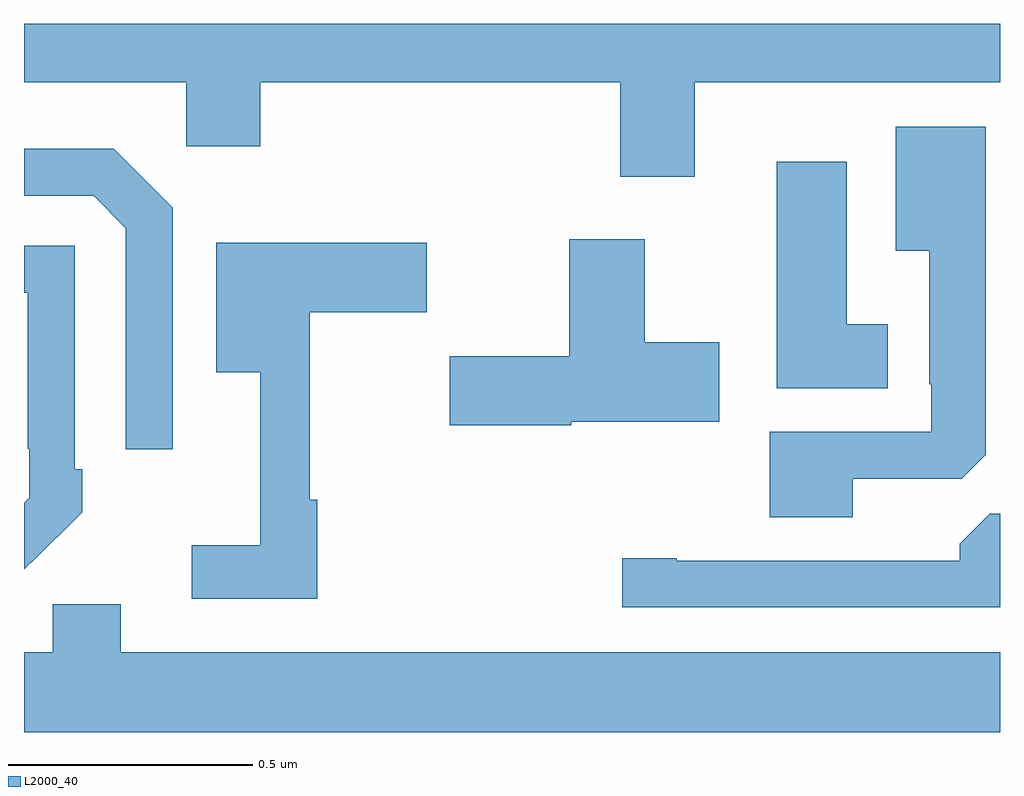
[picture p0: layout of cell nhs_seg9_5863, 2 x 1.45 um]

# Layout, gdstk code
import gdstk
lib = gdstk.Library(unit=1e-6, precision=1e-09)
def P(c, l, *ps):  # polygons
    for p in ps: c.add(gdstk.Polygon(p, *l))
L2000_40 = (2000, 40)

nhs_seg9_5863 = lib.new_cell('nhs_seg9_5863')
P(nhs_seg9_5863, L2000_40, [(185.374,1236.38),(186,1236.38),(186,1236.5),(184,1236.5),(184,1236.38),(184.332,1236.38),(184.332,1236.249),(184.484,1236.249),(184.484,1236.38),(185.222,1236.38),(185.222,1236.186),(185.374,1236.186)],
  [(185.698,1235.568),(185.922,1235.568),(185.971,1235.617),(185.971,1236.289),(185.786,1236.289),(185.786,1236.035),(185.855,1236.035),(185.855,1235.761),(185.859,1235.761),(185.859,1235.664),(185.528,1235.664),(185.528,1235.489),(185.698,1235.489)],
  [(184.305,1236.123),(184.184,1236.244),(184,1236.244),(184,1236.147),(184.143,1236.147),(184.209,1236.081),(184.209,1235.628),(184.305,1235.628)],
  [(185.77,1235.884),(185.686,1235.884),(185.686,1236.217),(185.543,1236.217),(185.543,1235.753),(185.77,1235.753)],
  [(185.121,1235.684),(185.425,1235.684),(185.425,1235.847),(185.272,1235.847),(185.272,1236.058),(185.117,1236.058),(185.117,1235.819),(184.872,1235.819),(184.872,1235.677),(185.121,1235.677)],
  [(184.601,1235.525),(184.586,1235.525),(184.586,1235.909),(184.825,1235.909),(184.825,1236.051),(184.394,1236.051),(184.394,1235.786),(184.484,1235.786),(184.484,1235.431),(184.344,1235.431),(184.344,1235.322),(184.601,1235.322)],
  [(184.013,1235.395),(184.014,1235.394),(184.119,1235.499),(184.119,1235.587),(184.104,1235.587),(184.104,1236.045),(184,1236.045),(184,1235.949),(184.008,1235.949),(184.008,1235.629),(184.011,1235.629),(184.011,1235.529),(184,1235.518),(184,1235.382)],
  [(186,1235.496),(185.979,1235.496),(185.918,1235.434),(185.918,1235.4),(185.338,1235.4),(185.338,1235.405),(185.226,1235.405),(185.226,1235.304),(186,1235.304)],
  [(186,1235.212),(184.198,1235.212),(184.198,1235.31),(184.059,1235.31),(184.059,1235.212),(184,1235.212),(184,1235.048),(186,1235.048)])

lib.write_gds('nhs_seg9_5863.gds')
